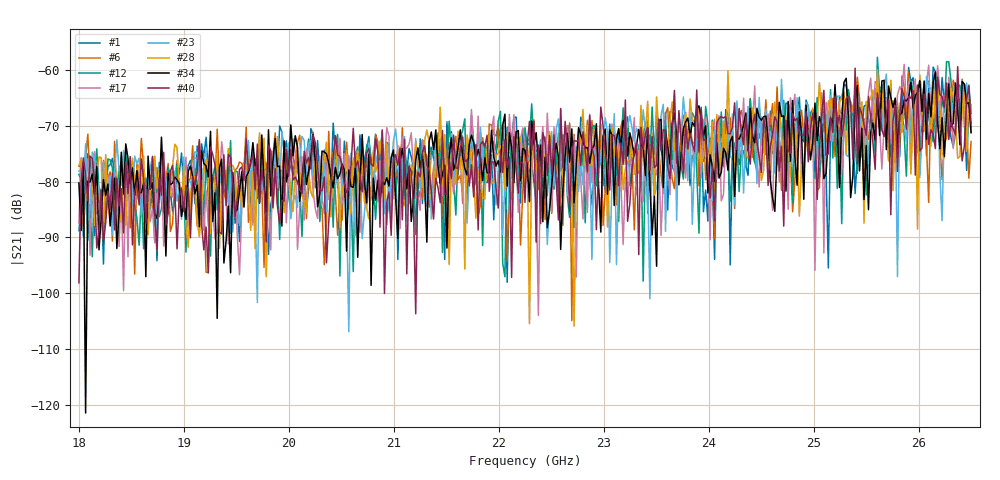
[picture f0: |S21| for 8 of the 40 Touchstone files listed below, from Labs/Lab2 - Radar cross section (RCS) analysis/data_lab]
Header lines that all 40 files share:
!Keysight Technologies,N5242B,MY47200105,A.14.00.23
!Correction: S11(C  2-Port  )
!S21(C  2-Port  )
!S12(C  2-Port  )
!S22(C  2-Port  )
!S2P File: Measurement: :
# Hz S  RI  R 50
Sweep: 18 GHz to 26.5 GHz
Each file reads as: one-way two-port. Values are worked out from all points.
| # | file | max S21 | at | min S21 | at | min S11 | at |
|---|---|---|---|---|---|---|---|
| 1 | sphere.s2p | -59.49 dB | 26.14 GHz | -98.0 dB | 22.08 GHz | -44.6 dB | 18.47 GHz |
| 2 | sphereReflection1.s2p | -57.64 dB | 25.95 GHz | -103.0 dB | 23.23 GHz | -37.5 dB | 19.68 GHz |
| 3 | sphereReflection2.s2p | -60.31 dB | 26.12 GHz | -105.5 dB | 23.02 GHz | -36.5 dB | 19.68 GHz |
| 4 | wing0.s2p | -59.58 dB | 25.86 GHz | -97.2 dB | 18.15 GHz | -39.0 dB | 18.4 GHz |
| 5 | wing10.s2p | -58.24 dB | 25.42 GHz | -103.0 dB | 19.17 GHz | -37.0 dB | 22.68 GHz |
| 6 | wing20.s2p | -60.28 dB | 25.91 GHz | -104.9 dB | 22.7 GHz | -42.8 dB | 18.4 GHz |
| 7 | wing30.s2p | -58.17 dB | 26.5 GHz | -103.4 dB | 19.15 GHz | -41.0 dB | 18.4 GHz |
| 8 | wing40.s2p | -60.57 dB | 25.31 GHz | -102.9 dB | 18.06 GHz | -38.9 dB | 18.4 GHz |
| 9 | wing50.s2p | -60.09 dB | 26.05 GHz | -110.8 dB | 18.7 GHz | -47.7 dB | 21.7 GHz |
| 10 | wing60.s2p | -59.62 dB | 25.99 GHz | -117.1 dB | 18 GHz | -40.5 dB | 19.68 GHz |
| 11 | wing70.s2p | -57.78 dB | 26.33 GHz | -101.0 dB | 23.06 GHz | -40.5 dB | 19.68 GHz |
| 12 | wing80.s2p | -57.73 dB | 25.61 GHz | -97.8 dB | 23.38 GHz | -39.0 dB | 19.68 GHz |
| 13 | wing90.s2p | -59.70 dB | 26.5 GHz | -100.8 dB | 21.4 GHz | -40.4 dB | 19.68 GHz |
| 14 | wing100.s2p | -60.69 dB | 25.31 GHz | -96.3 dB | 23.99 GHz | -38.9 dB | 19.68 GHz |
| 15 | wing110.s2p | -59.72 dB | 25.82 GHz | -96.5 dB | 23.36 GHz | -38.4 dB | 19.68 GHz |
| 16 | wing120.s2p | -56.87 dB | 25.84 GHz | -120.4 dB | 18.19 GHz | -38.0 dB | 19.68 GHz |
| 17 | wing130.s2p | -59.00 dB | 25.86 GHz | -104.0 dB | 22.38 GHz | -37.7 dB | 19.68 GHz |
| 18 | wing140.s2p | -60.71 dB | 26.18 GHz | -105.6 dB | 19 GHz | -37.1 dB | 19.68 GHz |
| 19 | wing150.s2p | -58.77 dB | 25.86 GHz | -102.8 dB | 20.87 GHz | -38.0 dB | 19.68 GHz |
| 20 | wing160.s2p | -57.48 dB | 26.35 GHz | -106.5 dB | 18.3 GHz | -37.4 dB | 19.68 GHz |
| 21 | wing170.s2p | -59.95 dB | 25.33 GHz | -121.0 dB | 24.76 GHz | -40.9 dB | 19.68 GHz |
| 22 | wing180.s2p | -59.12 dB | 25.82 GHz | -100.9 dB | 19.42 GHz | -44.0 dB | 19.68 GHz |
| 23 | wing190.s2p | -60.42 dB | 25.61 GHz | -106.9 dB | 20.57 GHz | -44.4 dB | 19.68 GHz |
| 24 | wing200.s2p | -59.72 dB | 26.46 GHz | -101.3 dB | 19.27 GHz | -42.0 dB | 19.68 GHz |
| 25 | wing210.s2p | -60.02 dB | 25.91 GHz | -108.7 dB | 22.61 GHz | -41.9 dB | 19.68 GHz |
| 26 | wing220.s2p | -58.60 dB | 25.82 GHz | -97.9 dB | 24.71 GHz | -43.3 dB | 19.68 GHz |
| 27 | wing230.s2p | -61.34 dB | 25.42 GHz | -97.9 dB | 20.46 GHz | -40.0 dB | 19.68 GHz |
| 28 | wing240.s2p | -60.00 dB | 25.61 GHz | -105.8 dB | 22.72 GHz | -44.1 dB | 19.68 GHz |
| 29 | wing250.s2p | -57.37 dB | 25.95 GHz | -100.4 dB | 20.38 GHz | -41.0 dB | 19.68 GHz |
| 30 | wing260.s2p | -58.33 dB | 26.41 GHz | -112.2 dB | 18.02 GHz | -43.2 dB | 19.68 GHz |
| 31 | wing270.s2p | -58.35 dB | 25.42 GHz | -101.5 dB | 18.36 GHz | -43.5 dB | 19.68 GHz |
| 32 | wing280.s2p | -57.56 dB | 26.48 GHz | -96.9 dB | 18.11 GHz | -42.1 dB | 19.68 GHz |
| 33 | wing290.s2p | -60.00 dB | 26.05 GHz | -98.1 dB | 21.32 GHz | -43.8 dB | 19.68 GHz |
| 34 | wing300.s2p | -60.38 dB | 26.16 GHz | -121.4 dB | 18.06 GHz | -43.3 dB | 19.68 GHz |
| 35 | wing310.s2p | -57.35 dB | 26.05 GHz | -100.0 dB | 18.23 GHz | -43.6 dB | 19.68 GHz |
| 36 | wing320.s2p | -58.04 dB | 26.05 GHz | -98.6 dB | 19.91 GHz | -42.6 dB | 19.68 GHz |
| 37 | wing330.s2p | -59.30 dB | 26.37 GHz | -107.4 dB | 18.06 GHz | -43.7 dB | 19.68 GHz |
| 38 | wing340.s2p | -58.44 dB | 26.12 GHz | -99.4 dB | 18.36 GHz | -42.9 dB | 19.68 GHz |
| 39 | wing350.s2p | -59.71 dB | 26.05 GHz | -106.4 dB | 24.48 GHz | -43.8 dB | 19.68 GHz |
| 40 | wing360.s2p | -59.41 dB | 26.37 GHz | -103.7 dB | 21.21 GHz | -43.0 dB | 19.68 GHz |
